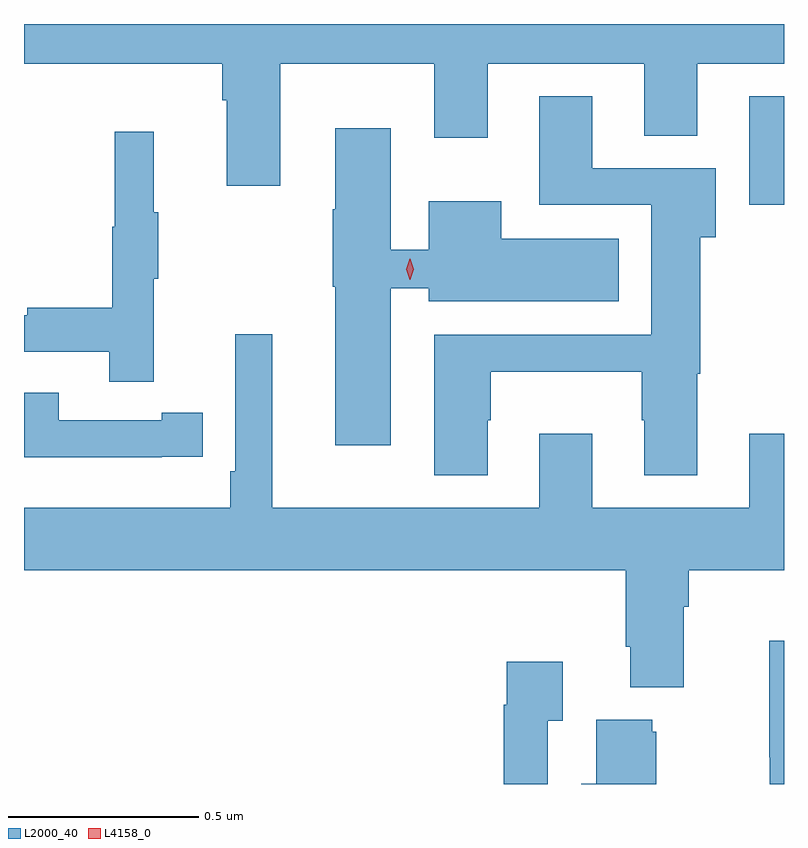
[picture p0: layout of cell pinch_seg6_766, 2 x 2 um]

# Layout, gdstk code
import gdstk
lib = gdstk.Library(unit=1e-6, precision=1e-09)
def R(c, l, rs):  # rectangles x0, y0, x1, y1
    for r in rs: c.add(gdstk.rectangle(r[:2], r[2:], *l))
def P(c, l, *ps):  # polygons
    for p in ps: c.add(gdstk.Polygon(p, *l))
L2000_40 = (2000, 40)
L4158_0 = (4158, 0)

pinch_seg6_766 = lib.new_cell('pinch_seg6_766')
R(pinch_seg6_766, L2000_40, [(540.497,941.637,540.589,941.923)])
P(pinch_seg6_766, L2000_40, [(539.263,942.008),(539.669,942.008),(539.669,941.814),(539.809,941.814),(539.809,942.008),(540.221,942.008),(540.221,941.819),(540.361,941.819),(540.361,942.008),(540.589,942.008),(540.589,942.113),(538.589,942.113),(538.589,942.008),(539.111,942.008),(539.111,941.912),(539.123,941.912),(539.123,941.688),(539.263,941.688)],
  [(539.809,941.07),(539.817,941.07),(539.817,941.198),(540.214,941.198),(540.214,941.07),(540.221,941.07),(540.221,940.926),(540.361,940.926),(540.361,941.192),(540.369,941.192),(540.369,941.552),(540.409,941.552),(540.409,941.733),(540.085,941.733),(540.085,941.923),(539.945,941.923),(539.945,941.637),(540.239,941.637),(540.239,941.295),(539.669,941.295),(539.669,940.926),(539.809,940.926)],
  [(539.554,941.418),(539.654,941.418),(539.654,941.384),(540.154,941.384),(540.154,941.548),(539.845,941.548),(539.845,941.647),(539.654,941.647),(539.654,941.519),(539.554,941.519),(539.554,941.839),(539.408,941.839),(539.408,941.626),(539.401,941.626),(539.401,941.421),(539.408,941.421),(539.408,941.004),(539.554,941.004)],
  [(538.931,941.443),(538.942,941.443),(538.942,941.617),(538.931,941.617),(538.931,941.83),(538.828,941.83),(538.828,941.58),(538.821,941.58),(538.821,941.366),(538.597,941.366),(538.597,941.346),(538.589,941.346),(538.589,941.25),(538.813,941.25),(538.813,941.172),(538.931,941.172)],
  [(540.325,940.58),(540.338,940.58),(540.338,940.676),(540.589,940.676),(540.589,941.035),(540.497,941.035),(540.497,940.84),(540.085,940.84),(540.085,941.035),(539.945,941.035),(539.945,940.84),(539.242,940.84),(539.242,941.296),(539.145,941.296),(539.145,940.936),(539.132,940.936),(539.132,940.84),(538.589,940.84),(538.589,940.676),(540.173,940.676),(540.173,940.474),(540.185,940.474),(540.185,940.367),(540.325,940.367)],
  [(538.952,940.974),(539.06,940.974),(539.06,941.09),(538.952,941.09),(538.952,941.07),(538.68,941.07),(538.68,941.142),(538.589,941.142),(538.589,940.973),(538.952,940.973)],
  [(540.589,940.49),(540.55,940.49),(540.55,940.183),(540.552,940.183),(540.552,940.113),(540.589,940.113)],
  [(539.967,940.279),(540.007,940.279),(540.007,940.435),(539.859,940.435),(539.859,940.322),(539.851,940.322),(539.851,940.113),(539.967,940.113)],
  [(540.253,940.251),(540.242,940.251),(540.242,940.282),(540.095,940.282),(540.095,940.114),(540.056,940.114),(540.056,940.113),(540.253,940.113)])
P(pinch_seg6_766, L4158_0, [(539.604,941.44),(539.595,941.468),(539.604,941.495),(539.605,941.495),(539.605,941.495),(539.615,941.468),(539.605,941.44),(539.605,941.44)])

lib.write_gds('pinch_seg6_766.gds')
